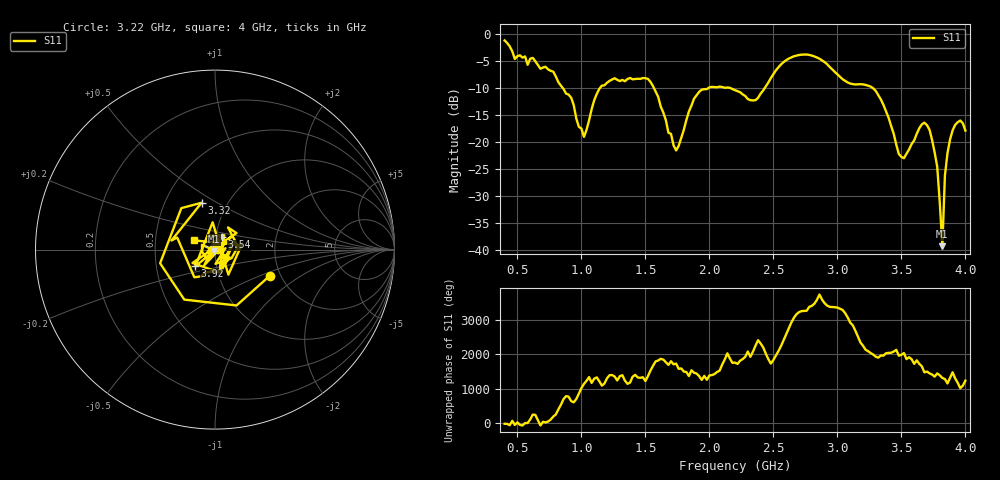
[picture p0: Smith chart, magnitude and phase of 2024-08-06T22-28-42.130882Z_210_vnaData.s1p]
!Created with skrf (http://scikit-rf.org).
# Hz S RI R 50.0
!freq ReS11 ImS11
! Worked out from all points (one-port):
!   181 points, 400 MHz to 4 GHz, reference 50 ohm
!   lowest |S11| = -39.4 dB at 3.82 GHz (marker M1), VSWR 1.02, Z = 49.4 - j0.874 ohm
!   |S11| at or under -10 dB: 855.5 MHz to 1.144 GHz (288.8 MHz wide, 28.9 % of centre); 1.567 GHz to 1.991 GHz (423.7 MHz wide, 23.8 % of centre); 3.278 GHz to end of sweep (the widest 3 of 4)
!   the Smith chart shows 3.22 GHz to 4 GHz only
!   S11 on the Smith chart (normalised r, x): 3.22 GHz: 1.76, -0.58; 3.32 GHz: 0.76, +0.43; 3.54 GHz: 1.07, +0.15; 3.92 GHz: 0.79, -0.15; 4 GHz: 0.79, +0.08
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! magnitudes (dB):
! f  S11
! 400 MHz  -1.1
! 480 MHz  -4.6
! 620 MHz  -4.4
! 860 MHz  -10.1
! 1.02 GHz  -19.1
! 1.14 GHz  -10.1
! 1.3 GHz  -8.7
! 1.52 GHz  -8.3
! 1.72 GHz  -20.6
! 1.76 GHz  -20.7
! 1.92 GHz  -10.7
! 2.2 GHz  -10.4
! 2.36 GHz  -12.2
! 2.66 GHz  -4.1
! 3.1 GHz  -9.1
! 3.22 GHz  -9.4
! 3.32 GHz  -11.3
! 3.48 GHz  -22.2
! 3.54 GHz  -22.2
! 3.56 GHz  -21.4
! 3.66 GHz  -16.7
! 3.72 GHz  -17.7
! 3.78 GHz  -24.6
! 3.82 GHz  -39.4
! 3.84 GHz  -26.2
! 3.88 GHz  -19.5
! 3.92 GHz  -16.8
! 4 GHz  -17.9
